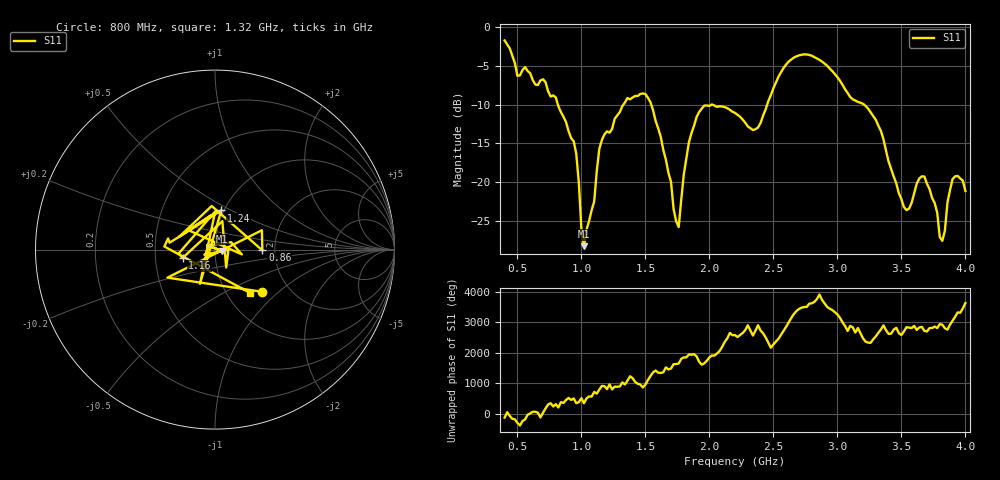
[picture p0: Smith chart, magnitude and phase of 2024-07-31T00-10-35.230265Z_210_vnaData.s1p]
!Created with skrf (http://scikit-rf.org).
# Hz S RI R 50.0
!freq ReS11 ImS11
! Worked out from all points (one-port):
!   181 points, 400 MHz to 4 GHz, reference 50 ohm
!   lowest |S11| = -28.3 dB at 1.02 GHz (marker M1), VSWR 1.08, Z = 53.9 - j0.867 ohm
!   |S11| at or under -10 dB: 816 MHz to 1.328 GHz (512.5 MHz wide, 47.8 % of centre); 1.546 GHz to 2.018 GHz (472.5 MHz wide, 26.5 % of centre); 3.208 GHz to end of sweep (the widest 3 of 4)
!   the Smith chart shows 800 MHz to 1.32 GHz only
!   S11 on the Smith chart (normalised r, x): 800 MHz: 1.46, -0.78; 860 MHz: 1.72, -0.02; 1.16 GHz: 0.69, -0.07; 1.24 GHz: 0.97, +0.44; 1.32 GHz: 1.28, -0.68
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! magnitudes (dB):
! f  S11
! 400 MHz  -1.7
! 500 MHz  -6.3
! 560 MHz  -5.2
! 800 MHz  -9.1
! 860 MHz  -11.6
! 960 MHz  -16.4
! 1 GHz  -26.1
! 1.02 GHz  -28.3
! 1.1 GHz  -22.5
! 1.16 GHz  -14.6
! 1.24 GHz  -13.1
! 1.3 GHz  -11.0
! 1.32 GHz  -10.2
! 1.54 GHz  -9.7
! 1.76 GHz  -25.8
! 1.84 GHz  -14.9
! 1.9 GHz  -11.6
! 2.2 GHz  -11.1
! 2.38 GHz  -13.0
! 2.66 GHz  -3.9
! 2.88 GHz  -4.5
! 3.1 GHz  -9.0
! 3.3 GHz  -12.0
! 3.56 GHz  -23.4
! 3.68 GHz  -19.3
! 3.82 GHz  -27.6
! 3.9 GHz  -19.6
! 4 GHz  -21.2
